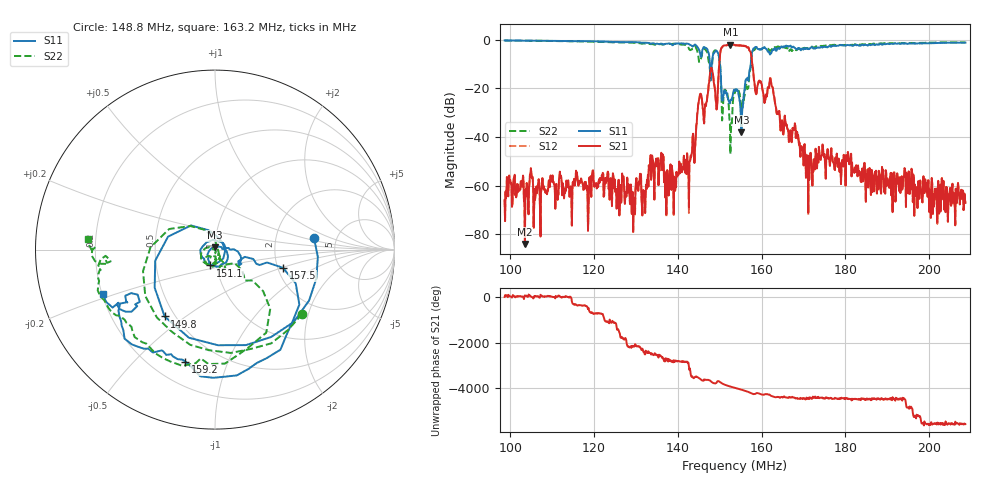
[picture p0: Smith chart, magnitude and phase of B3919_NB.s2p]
! Matrix data file written by TouchstoneData, EPCOS AG
! FILENAME: "newformat_B3592_NB_6.s2p"
! COMMENT: "(B3592_NB_6.s2p)"
! INFO: nport=2, nfreq=1001
! DATE: "Tue Jan 10 10:25:52 2012"
! USER: "Daniel Harbusch"
! port | pin | signal
!  1  |  2  |  IN
!  2  |  6  |  OUT
# MHZ S MA R 50
! freq  magS11 angS11  magS21 angS21  magS12 angS12  magS22 angS22
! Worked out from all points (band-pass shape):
!   1001 points, 98.65 MHz to 208.7 MHz, reference 50 ohm
!   highest |S21| = -1.99 dB at 152.6 MHz (marker M1); lowest = -84.0 dB at 103.5 MHz (marker M2)
!   |S21| within 3 dB of the highest: 150.2 MHz to 157.3 MHz (7.141 MHz wide, 4.65 % of centre)
!   lowest |S11| = -38.1 dB at 155.2 MHz (marker M3), VSWR 1.03, Z = 49.9 + j1.24 ohm
!   |S11| at or under -10 dB: 147.6417 MHz to 148.1155 MHz (473.8 kHz wide, 0.32 % of centre); 150.1 MHz to 157.4 MHz (7.359 MHz wide, 4.79 % of centre)
!   |S22| runs from -47.0 to -0.3 dB; largest |S21 - S12| = 0.00085
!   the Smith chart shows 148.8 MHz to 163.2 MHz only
!   S11 on the Smith chart (normalised r, x): 148.8 MHz: 3.36, +0.65; 149.8 MHz: 0.44, -0.42; 151.1 MHz: 0.93, -0.17; 157.5 MHz: 2.14, -0.51; 159.2 MHz: 0.33, -0.72; 163.2 MHz: 0.20, -0.18
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98.65  0.9701 -56.6  0.0005107 1.5  0.0005069 1.4  0.9677 -57.8
103.49  0.9603 -62.7  6.327e-05 66.9  5.706e-05 73.0  0.958 -64.4
117.02  0.9397 -85.3  0.001256 -17.3  0.001253 -16.8  0.9292 -90.1
129.23  0.8995 -119.7  0.0007405 -6.0  0.0007329 -3.9  0.8748 -131.3
135.39  0.825 -147.6  0.001029 -133.9  0.001024 -131.6  0.8147 -163.9
139.46  0.8339 -171.8  0.001029 97.7  0.001018 98.2  0.8274 160.1
143.97  0.7893 133.4  0.002926 74.6  0.002889 74.0  0.7098 97.6
145.18  0.5932 100.0  0.06428 35.4  0.06422 35.2  0.3584 73.3
147.93  0.1652 61.7  0.2649 -96.1  0.2651 -96.1  0.235 12.9
148.81  0.5552 6.9  0.1044 -178.8  0.1042 -178.7  0.6035 -36.4
149.8  0.4666 -127.0  0.2516 -90.7  0.2515 -90.7  0.4668 -146.3
151.12  0.09186 -106.7  0.7639 126.1  0.7634 126.1  0.09377 -112.1
152.55  0.05559 49.7  0.7957 38.7  0.795 38.7  0.004462 163.1
153.65  0.08915 -66.6  0.7737 -20.5  0.7731 -20.5  0.0838 -91.0
155.19  0.01246 94.7  0.7546 -96.6  0.7541 -96.6  0.05076 -118.6
156.4  0.157 -26.8  0.7207 -166.9  0.7202 -167.0  0.127 -73.5
157.5  0.3923 -15.0  0.4942 105.9  0.494 105.9  0.3543 -40.8
159.15  0.6462 -104.8  0.1228 107.0  0.1228 107.0  0.6564 -128.2
163.22  0.6723 -158.4  0.04939 -61.8  0.04931 -61.8  0.7074 175.2
172.02  0.7102 142.6  0.001614 -137.9  0.001618 -138.0  0.7243 124.1
190.39  0.8186 86.5  0.001247 -156.6  0.001236 -156.7  0.8548 74.0
208.65  0.8736 58.7  0.0004429 -161.9  0.0004381 -161.5  0.8873 50.8
